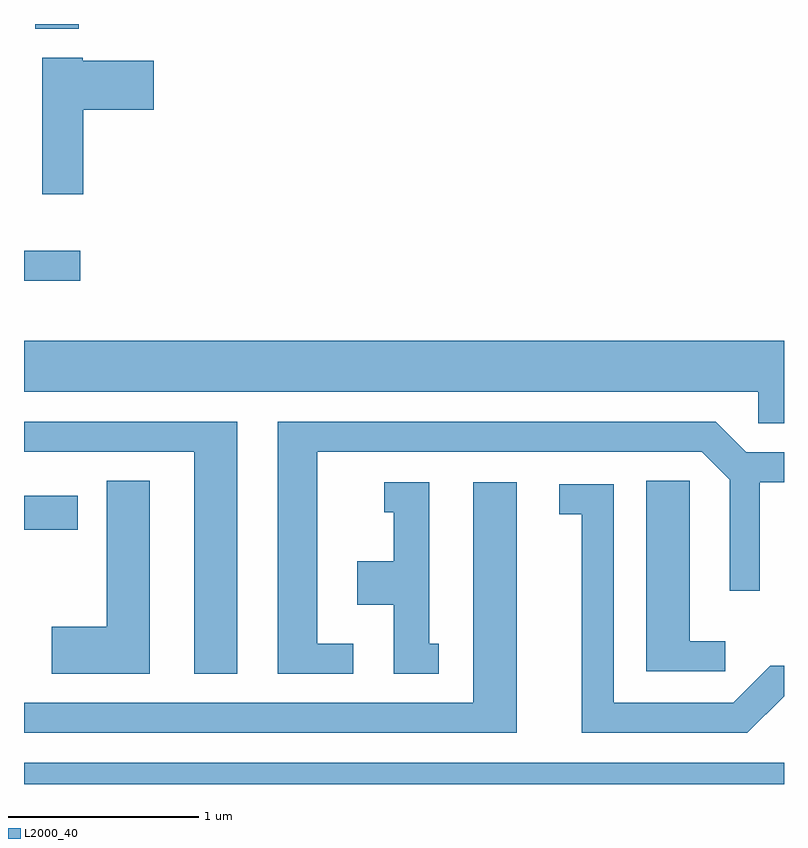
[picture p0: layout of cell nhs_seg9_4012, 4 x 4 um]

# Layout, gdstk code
import gdstk
lib = gdstk.Library(unit=1e-6, precision=1e-09)
def R(c, l, rs):  # rectangles x0, y0, x1, y1
    for r in rs: c.add(gdstk.rectangle(r[:2], r[2:], *l))
def P(c, l, *ps):  # polygons
    for p in ps: c.add(gdstk.Polygon(p, *l))
L2000_40 = (2000, 40)

nhs_seg9_4012 = lib.new_cell('nhs_seg9_4012')
R(nhs_seg9_4012, L2000_40, [(303.611,1976.432,307.611,1976.544), (303.611,1977.771,303.894,1977.949), (303.611,1979.081,303.908,1979.239), (303.671,1980.406,303.899,1980.432)])
P(nhs_seg9_4012, L2000_40, [(303.924,1979.981),(304.294,1979.981),(304.294,1980.239),(303.92,1980.239),(303.92,1980.254),(303.706,1980.254),(303.706,1979.536),(303.924,1979.536)],
  [(307.611,1978.764),(303.611,1978.764),(303.611,1978.496),(307.476,1978.496),(307.476,1978.331),(307.611,1978.331)],
  [(304.734,1978.339),(303.611,1978.339),(303.611,1978.181),(304.506,1978.181),(304.506,1977.011),(304.734,1977.011)],
  [(305.343,1977.169),(305.154,1977.169),(305.154,1978.181),(307.179,1978.181),(307.326,1978.034),(307.326,1977.448),(307.484,1977.448),(307.484,1978.021),(307.611,1978.021),(307.611,1978.179),(307.412,1978.179),(307.252,1978.339),(304.946,1978.339),(304.946,1977.011),(305.343,1977.011)],
  [(304.274,1978.029),(304.046,1978.029),(304.046,1977.259),(303.756,1977.259),(303.756,1977.011),(304.274,1977.011)],
  [(307.303,1977.184),(307.114,1977.184),(307.114,1978.029),(306.886,1978.029),(306.886,1977.026),(307.303,1977.026)],
  [(305.793,1977.169),(305.744,1977.169),(305.744,1978.019),(305.508,1978.019),(305.508,1977.861),(305.556,1977.861),(305.556,1977.604),(305.366,1977.604),(305.366,1977.376),(305.556,1977.376),(305.556,1977.011),(305.793,1977.011)],
  [(306.204,1978.019),(305.976,1978.019),(305.976,1976.859),(303.611,1976.859),(303.611,1976.701),(306.204,1976.701)],
  [(307.611,1976.895),(307.611,1977.054),(307.539,1977.054),(307.344,1976.859),(306.714,1976.859),(306.714,1978.009),(306.428,1978.009),(306.428,1977.851),(306.546,1977.851),(306.546,1976.701),(307.417,1976.701)])

lib.write_gds('nhs_seg9_4012.gds')
